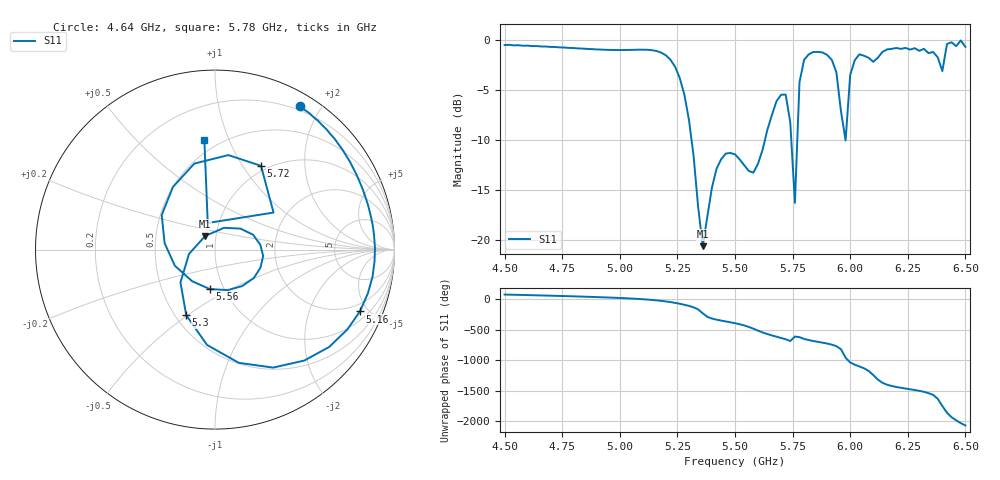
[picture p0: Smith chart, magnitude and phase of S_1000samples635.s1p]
! TOUCHSTONE file generated by CST MICROWAVE STUDIO
! Date and time: Fri Oct 28 20:40:02 2022
! Project name: L.cst
! Parameters = {Di=1.27; Epsilon_r=1.56; InnerDiameter=1.27; Length=2; Lf=10; Lg=60; OuterConductorThickness=0.2921; OuterDiameter=3.6; Wf=3; Wp=41.2; de=1.5; df=6.8; g=0.8; gx=4.56789; gy=0.773942; h=2.34; hf=1.524; px=8.16639; py=13.8241; w=9.7; wx=3.59851; wy=13.0501}
! Header version: 2018
! Port assignment regex: !\s*Touchstone port\s*([0-9]+)\s*=\s*(CST MWS port|CST DS port)\s*([0-9]+|Zmin|Zmax)\s*\(\"(.*)\"\)(\s*mode\s*([0-9]+))?.*
! Touchstone port assignment:
! Touchstone port 1 = CST MWS port 1 ("")
# GHz S DB R 50
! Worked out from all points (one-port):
!   101 points, 4.5 GHz to 6.5 GHz, reference 50 ohm
!   lowest |S11| = -20.6 dB at 5.36 GHz (marker M1), VSWR 1.21, Z = 44.4 + j6.83 ohm
!   |S11| at or under -10 dB: 5.311 GHz to 5.63 GHz (318.5 MHz wide, 5.82 % of centre); 5.744327 GHz to 5.770409 GHz (26.08 MHz wide, 0.453 % of centre); 5.97973 GHz to 5.98012 GHz (389.5 kHz wide, 0.00651 % of centre)
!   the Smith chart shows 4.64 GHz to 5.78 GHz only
!   S11 on the Smith chart (normalised r, x): 4.64 GHz: 0.15, +1.75; 5.16 GHz: 1.47, -4.42; 5.3 GHz: 0.57, -0.49; 5.56 GHz: 0.86, -0.40; 5.72 GHz: 0.93, +1.21; 5.78 GHz: 0.42, +0.82
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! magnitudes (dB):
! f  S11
! 4.5 GHz  -0.5
! 4.64 GHz  -0.6
! 4.76 GHz  -0.8
! 5 GHz  -1.0
! 5.16 GHz  -1.1
! 5.26 GHz  -3.8
! 5.3 GHz  -8.0
! 5.36 GHz  -20.6
! 5.42 GHz  -12.9
! 5.5 GHz  -11.4
! 5.56 GHz  -13.1
! 5.6 GHz  -12.4
! 5.68 GHz  -6.1
! 5.72 GHz  -5.5
! 5.74 GHz  -8.3
! 5.76 GHz  -16.3
! 5.78 GHz  -4.2
! 5.82 GHz  -1.5
! 5.92 GHz  -2.0
! 5.94 GHz  -3.2
! 5.98 GHz  -10.0
! 6 GHz  -3.5
! 6.04 GHz  -1.5
! 6.26 GHz  -1.0
! 6.36 GHz  -1.2
! 6.4 GHz  -3.1
! 6.42 GHz  -0.4
! 6.5 GHz  -0.7
